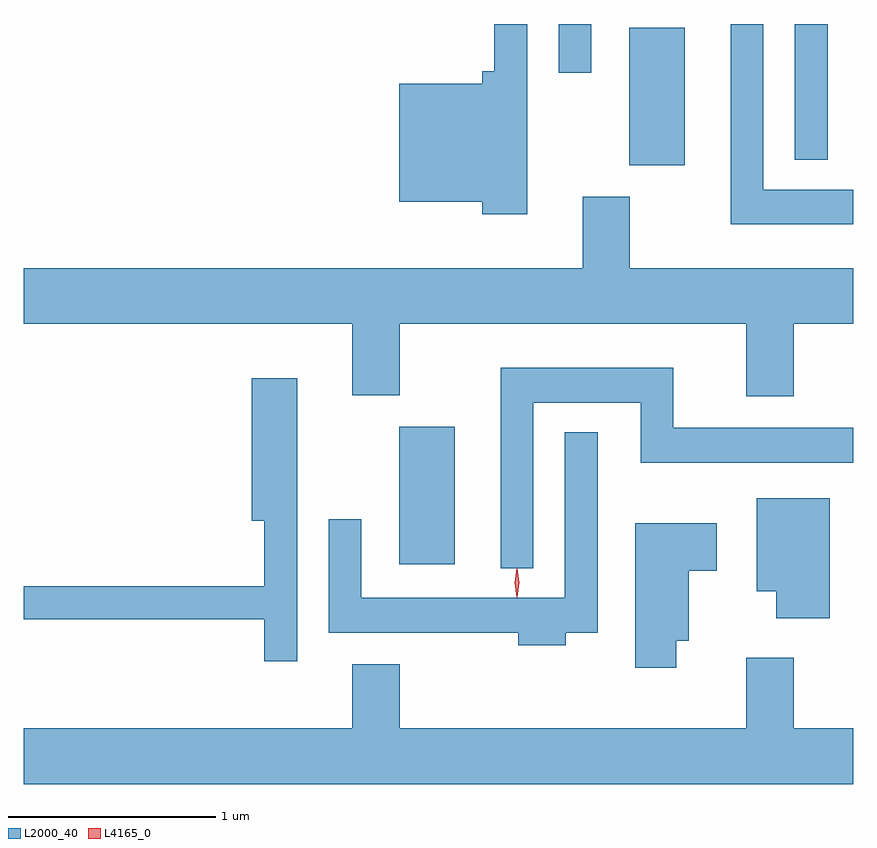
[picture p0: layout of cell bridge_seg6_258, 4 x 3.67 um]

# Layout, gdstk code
import gdstk
lib = gdstk.Library(unit=1e-6, precision=1e-09)
def R(c, l, rs):  # rectangles x0, y0, x1, y1
    for r in rs: c.add(gdstk.rectangle(r[:2], r[2:], *l))
def P(c, l, *ps):  # polygons
    for p in ps: c.add(gdstk.Polygon(p, *l))
L2000_40 = (2000, 40)
L4165_0 = (4165, 0)

bridge_seg6_258 = lib.new_cell('bridge_seg6_258')
R(bridge_seg6_258, L2000_40, [(1226.476,1584.396,1226.744,1585.059), (1227.586,1586.321,1227.854,1586.984), (1228.386,1586.348,1228.544,1587.003), (1227.246,1586.768,1227.404,1587.003)])
P(bridge_seg6_258, L2000_40, [(1227.094,1587.003),(1226.936,1587.003),(1226.936,1586.774),(1226.876,1586.774),(1226.876,1586.714),(1226.476,1586.714),(1226.476,1586.146),(1226.876,1586.146),(1226.876,1586.086),(1227.094,1586.086)],
  [(1228.666,1586.204),(1228.234,1586.204),(1228.234,1587.003),(1228.076,1587.003),(1228.076,1586.036),(1228.666,1586.036)],
  [(1228.379,1585.556),(1228.666,1585.556),(1228.666,1585.824),(1227.589,1585.824),(1227.589,1586.169),(1227.361,1586.169),(1227.361,1585.824),(1224.666,1585.824),(1224.666,1585.556),(1226.251,1585.556),(1226.251,1585.211),(1226.479,1585.211),(1226.479,1585.556),(1228.151,1585.556),(1228.151,1585.206),(1228.379,1585.206)],
  [(1227.124,1585.176),(1227.641,1585.176),(1227.641,1584.886),(1228.666,1584.886),(1228.666,1585.054),(1227.799,1585.054),(1227.799,1585.344),(1226.966,1585.344),(1226.966,1584.378),(1227.124,1584.378)],
  [(1225.984,1585.294),(1225.766,1585.294),(1225.766,1584.606),(1225.826,1584.606),(1225.826,1584.289),(1224.666,1584.289),(1224.666,1584.131),(1225.826,1584.131),(1225.826,1583.928),(1225.984,1583.928)],
  [(1227.279,1584.066),(1227.434,1584.066),(1227.434,1585.033),(1227.276,1585.033),(1227.276,1584.234),(1226.294,1584.234),(1226.294,1584.613),(1226.136,1584.613),(1226.136,1584.066),(1227.051,1584.066),(1227.051,1584.006),(1227.279,1584.006)],
  [(1228.554,1584.714),(1228.201,1584.714),(1228.201,1584.266),(1228.296,1584.266),(1228.296,1584.136),(1228.554,1584.136)],
  [(1227.814,1584.026),(1227.874,1584.026),(1227.874,1584.366),(1228.009,1584.366),(1228.009,1584.594),(1227.616,1584.594),(1227.616,1583.896),(1227.814,1583.896)],
  [(1228.666,1583.604),(1228.379,1583.604),(1228.379,1583.944),(1228.151,1583.944),(1228.151,1583.604),(1226.479,1583.604),(1226.479,1583.914),(1226.251,1583.914),(1226.251,1583.604),(1224.666,1583.604),(1224.666,1583.336),(1228.666,1583.336)])
P(bridge_seg6_258, L4165_0, [(1227.044,1584.237),(1227.035,1584.306),(1227.044,1584.376),(1227.045,1584.376),(1227.045,1584.376),(1227.055,1584.306),(1227.045,1584.237),(1227.045,1584.237)],
  [(1227.045,1584.239),(1227.044,1584.24),(1227.035,1584.306),(1227.044,1584.372),(1227.045,1584.373),(1227.045,1584.372),(1227.055,1584.306),(1227.045,1584.24)])

lib.write_gds('bridge_seg6_258.gds')
